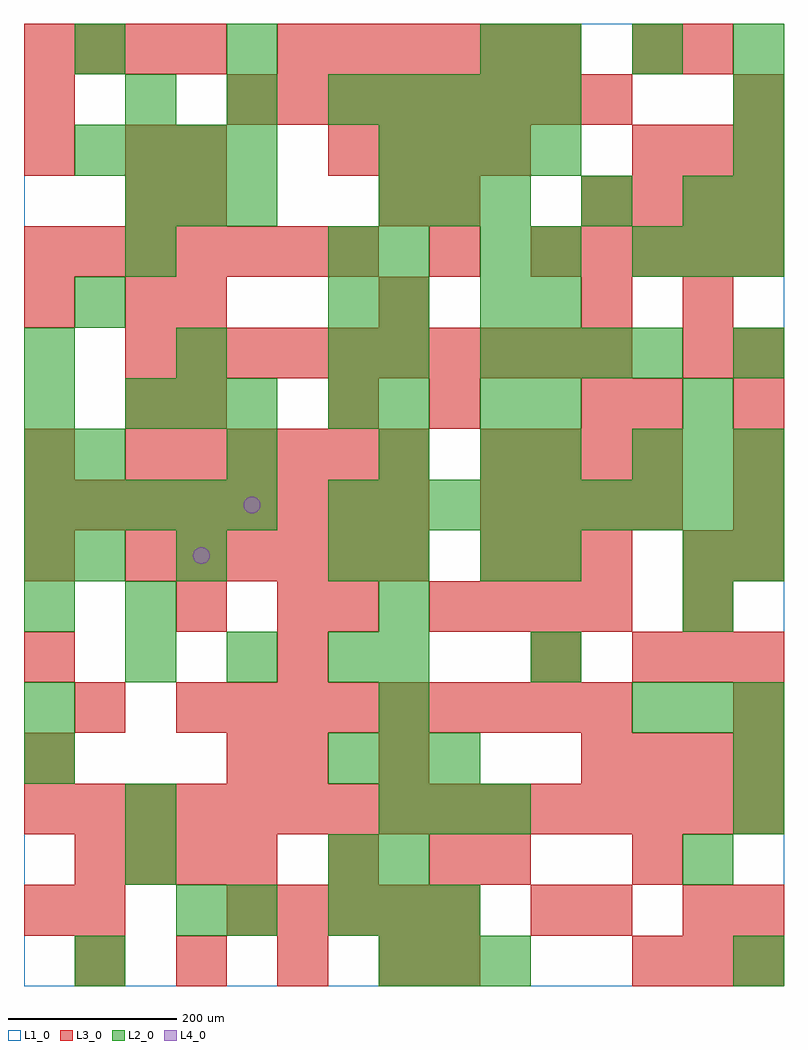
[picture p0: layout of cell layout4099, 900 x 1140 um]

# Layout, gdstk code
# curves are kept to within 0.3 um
import gdstk
lib = gdstk.Library(unit=1e-6, precision=1e-09)
def R(c, l, rs):  # rectangles x0, y0, x1, y1
    for r in rs: c.add(gdstk.rectangle(r[:2], r[2:], *l))
def A(c, l, x, y, w, h, nx, ny, dx, dy):  # array of equal rectangles
    R(c, l, [(x+i*dx, y+j*dy, x+i*dx+w, y+j*dy+h) for i in range(nx) for j in range(ny)])
def P(c, l, *ps):  # polygons
    for p in ps: c.add(gdstk.Polygon(p, *l))
L1_0 = (1, 0)
L2_0 = (2, 0)
L3_0 = (3, 0)
L4_0 = (4, 0)

layout4099 = lib.new_cell('layout4099')
R(layout4099, L1_0, [(0,0,900,1140)])
A(layout4099, L2_0, 420, 0, 60, 60, 3, 2, 60, 180)
A(layout4099, L2_0, 360, 60, 60, 60, 3, 2, 60, 180)
A(layout4099, L2_0, 840, 240, 60, 60, 1, 3, 0, 240)
A(layout4099, L2_0, 420, 300, 60, 60, 1, 4, 0, 60)
A(layout4099, L2_0, 720, 300, 60, 60, 3, 2, 60, 300)
A(layout4099, L2_0, 120, 360, 60, 60, 3, 2, 120, 660)
A(layout4099, L2_0, 600, 360, 60, 60, 1, 3, 0, 120)
A(layout4099, L2_0, 60, 480, 60, 60, 1, 3, 0, 300)
A(layout4099, L2_0, 0, 540, 60, 60, 5, 1, 60, 0)
A(layout4099, L2_0, 360, 540, 60, 60, 9, 1, 60, 0)
A(layout4099, L2_0, 60, 600, 60, 60, 3, 1, 180, 0)
A(layout4099, L2_0, 120, 660, 60, 60, 3, 2, 60, 240)
A(layout4099, L2_0, 420, 660, 60, 60, 1, 4, 0, 60)
A(layout4099, L2_0, 0, 720, 60, 60, 3, 1, 180, 0)
A(layout4099, L2_0, 540, 720, 60, 60, 4, 1, 60, 0)
A(layout4099, L2_0, 720, 840, 60, 60, 3, 1, 60, 0)
A(layout4099, L2_0, 420, 900, 60, 60, 3, 1, 60, 0)
A(layout4099, L2_0, 840, 900, 60, 60, 1, 3, 0, 60)
A(layout4099, L2_0, 60, 960, 60, 60, 4, 1, 60, 0)
A(layout4099, L2_0, 420, 960, 60, 60, 4, 2, 60, 60)
A(layout4099, L2_0, 600, 1080, 60, 60, 3, 1, 120, 0)
R(layout4099, L2_0, [(60,0,120,60), (840,0,900,60), (180,60,240,120), (240,60,300,120), (120,120,180,180), (360,120,420,180), (420,120,480,180), (780,120,840,180), (120,180,180,240), (840,180,900,240), (0,240,60,300), (0,300,60,360), (0,420,60,480), (120,420,180,480), (780,420,840,480), (0,480,60,540), (180,480,240,540), (360,480,420,540), (540,480,600,540), (780,480,840,540), (0,600,60,660), (540,600,600,660), (0,660,60,720), (360,660,420,720), (540,660,600,720), (600,660,660,720), (780,660,840,720), (360,780,420,840), (540,780,600,840), (600,780,660,840), (120,840,180,900), (360,840,420,900), (540,840,600,900), (600,840,660,900), (660,900,720,960), (780,900,840,960), (240,1080,300,1140), (540,1080,600,1140)])
A(layout4099, L3_0, 60, 0, 60, 60, 4, 1, 120, 0)
A(layout4099, L3_0, 720, 0, 60, 60, 3, 2, 60, 360)
A(layout4099, L3_0, 240, 60, 60, 60, 5, 1, 60, 0)
A(layout4099, L3_0, 60, 120, 60, 60, 4, 1, 60, 0)
A(layout4099, L3_0, 0, 180, 60, 60, 15, 1, 60, 0)
A(layout4099, L3_0, 660, 240, 60, 60, 4, 2, 60, 660)
A(layout4099, L3_0, 180, 300, 60, 60, 9, 1, 60, 0)
A(layout4099, L3_0, 0, 360, 60, 60, 3, 1, 300, 0)
A(layout4099, L3_0, 180, 420, 60, 60, 1, 3, 0, 240)
A(layout4099, L3_0, 480, 420, 60, 60, 4, 1, 60, 0)
A(layout4099, L3_0, 120, 480, 60, 60, 6, 2, 60, 120)
A(layout4099, L3_0, 540, 480, 60, 60, 3, 1, 60, 0)
A(layout4099, L3_0, 840, 480, 60, 60, 1, 5, 0, 60)
A(layout4099, L3_0, 0, 540, 60, 60, 8, 1, 60, 0)
A(layout4099, L3_0, 540, 540, 60, 60, 4, 2, 60, 60)
A(layout4099, L3_0, 0, 600, 60, 60, 1, 3, 0, 180)
A(layout4099, L3_0, 120, 660, 60, 60, 1, 3, 0, 120)
A(layout4099, L3_0, 120, 720, 60, 60, 10, 1, 60, 0)
A(layout4099, L3_0, 180, 780, 60, 60, 3, 1, 240, 0)
A(layout4099, L3_0, 0, 840, 60, 60, 7, 1, 60, 0)
A(layout4099, L3_0, 600, 840, 60, 60, 5, 1, 60, 0)
A(layout4099, L3_0, 360, 960, 60, 60, 4, 1, 60, 0)
A(layout4099, L3_0, 720, 960, 60, 60, 3, 1, 60, 0)
A(layout4099, L3_0, 240, 1020, 60, 60, 8, 1, 60, 0)
A(layout4099, L3_0, 0, 1080, 60, 60, 4, 1, 60, 0)
A(layout4099, L3_0, 300, 1080, 60, 60, 6, 1, 60, 0)
R(layout4099, L3_0, [(480,0,540,60), (0,60,60,120), (60,60,120,120), (600,60,660,120), (660,60,720,120), (780,60,840,120), (840,60,900,120), (360,120,420,180), (480,120,540,180), (540,120,600,180), (720,120,780,180), (0,240,60,300), (240,240,300,300), (300,240,360,300), (420,240,480,300), (60,300,120,360), (840,300,900,360), (300,420,360,480), (360,420,420,480), (780,420,840,480), (0,480,60,540), (780,480,840,540), (360,660,420,720), (480,660,540,720), (660,660,720,720), (720,660,780,720), (780,720,840,780), (780,780,840,840), (480,840,540,900), (420,900,480,960), (480,900,540,960), (120,960,180,1020), (180,960,240,1020), (0,1020,60,1080), (840,1020,900,1080), (720,1080,780,1140), (780,1080,840,1140)])
P(layout4099, L4_0, [(220,510),(219.239,513.827),(217.071,517.071),(213.827,519.239),(210,520),(206.173,519.239),(202.929,517.071),(200.761,513.827),(200,510),(200.761,506.173),(202.929,502.929),(206.173,500.761),(210,500),(213.827,500.761),(217.071,502.929),(219.239,506.173)],
  [(280,570),(279.239,573.827),(277.071,577.071),(273.827,579.239),(270,580),(266.173,579.239),(262.929,577.071),(260.761,573.827),(260,570),(260.761,566.173),(262.929,562.929),(266.173,560.761),(270,560),(273.827,560.761),(277.071,562.929),(279.239,566.173)])

lib.write_gds('layout4099.gds')
